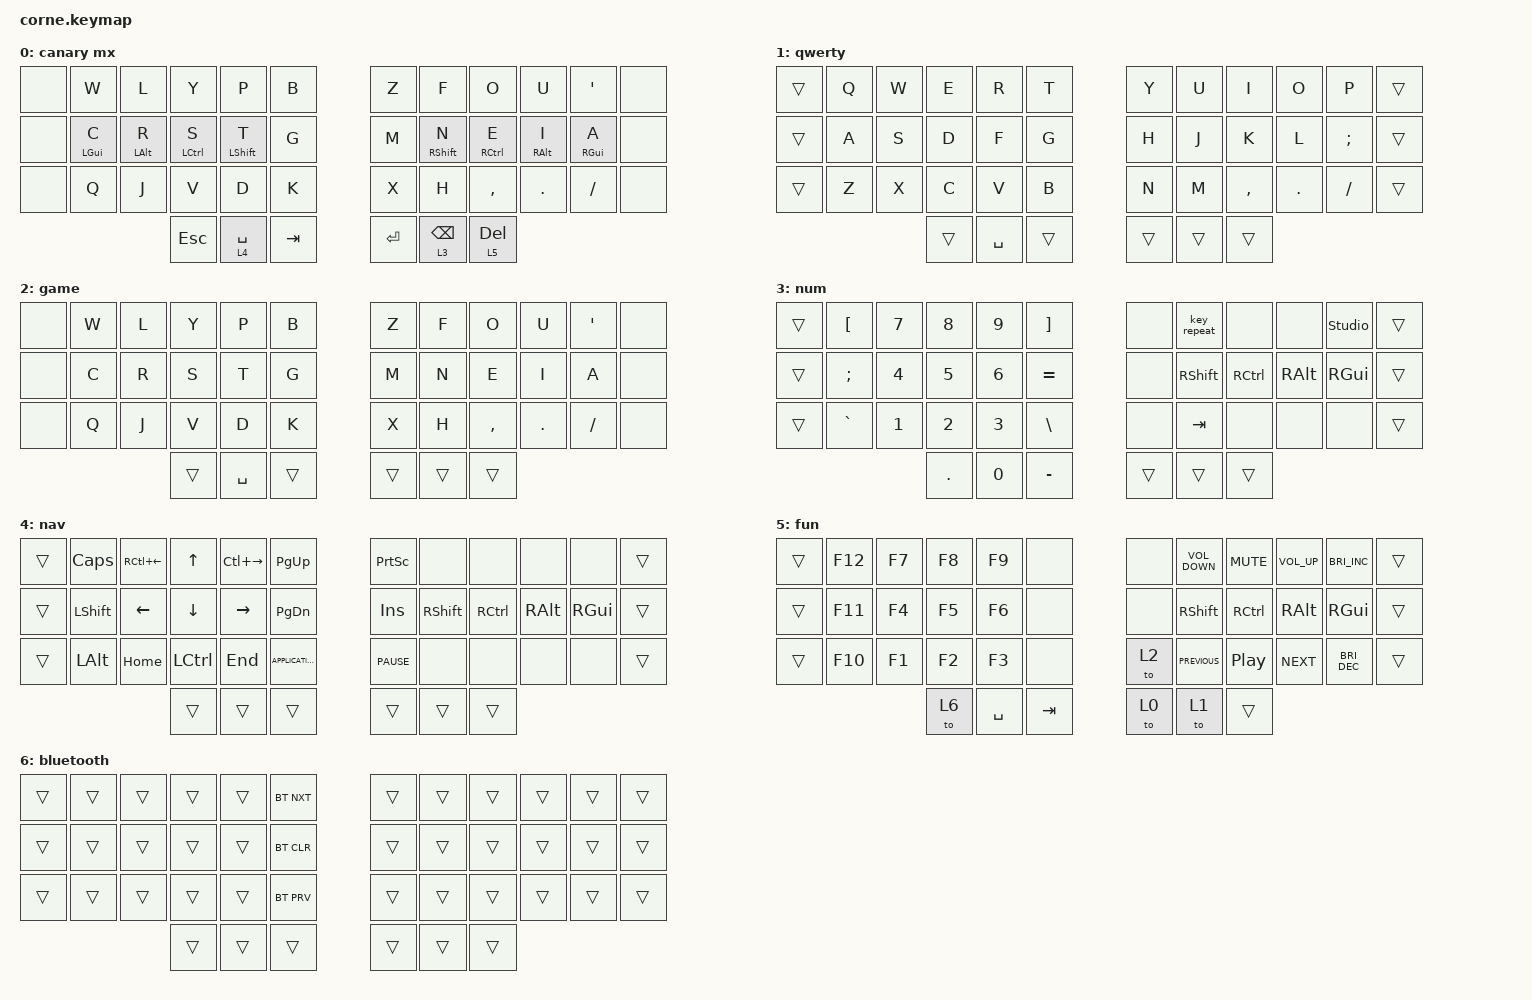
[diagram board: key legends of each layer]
/*
 * Copyright (c) 2020 The ZMK Contributors
 *
 * SPDX-License-Identifier: MIT
 */

#include <behaviors.dtsi>
#include <dt-bindings/zmk/bt.h>
#include <dt-bindings/zmk/keys.h>

&soft_off {
    hold-time-ms = <5000>; // Only turn off it the key is held for 5 seconds or longer.
};

&soft_off { /delete-property/ split-peripheral-off-on-press; };

&mt {
    tapping-term-ms = <200>;
    quick-tap-ms = <175>;
    require-prior-idle-ms = <150>;
    flavor = "balanced";
};

&lt {
    tapping-term-ms = <200>;
    flavor = "hold-preferred";
};

/ {
    combos {
        compatible = "zmk,combos";

        exclm {
            bindings = <&kp EXCLAMATION>;
            key-positions = <1 13>;
        };

        at {
            bindings = <&kp AT_SIGN>;
            key-positions = <2 14>;
        };

        hash {
            bindings = <&kp HASH>;
            key-positions = <3 15>;
        };

        dllr {
            bindings = <&kp DOLLAR>;
            key-positions = <4 16>;
        };

        percnt {
            bindings = <&kp PERCENT>;
            key-positions = <5 17>;
        };

        caret {
            bindings = <&kp CARET>;
            key-positions = <6 18>;
        };

        and {
            bindings = <&kp AMPERSAND>;
            key-positions = <7 19>;
        };

        str {
            bindings = <&kp ASTERISK>;
            key-positions = <8 20>;
        };

        leftparen {
            bindings = <&kp LPAR>;
            key-positions = <9 21>;
        };

        rparen {
            bindings = <&kp RPAR>;
            key-positions = <10 22>;
        };

        lshift {
            bindings = <&kp LEFT_SHIFT>;
            key-positions = <14 26>;
        };
    };

    conditional_layers { compatible = "zmk,conditional-layers"; };

    keymap {
        compatible = "zmk,keymap";

        canary_matrix {
            bindings = <
&none  &kp W           &kp L           &kp Y        &kp P             &kp B      &kp Z      &kp F              &kp O         &kp U            &kp SQT          &none
&none  &mt LEFT_GUI C  &mt LEFT_ALT R  &mt LCTRL S  &mt LEFT_SHIFT T  &kp G      &kp M      &mt RIGHT_SHIFT N  &mt RCTRL E   &mt RIGHT_ALT I  &mt RIGHT_GUI A  &none
&none  &kp Q           &kp J           &kp V        &kp D             &kp K      &kp X      &kp H              &kp COMMA     &kp DOT          &kp FSLH         &none
                                       &kp ESCAPE   &lt 4 SPACE       &kp TAB    &kp ENTER  &lt 3 BACKSPACE    &lt 5 DELETE
            >;

            label = "canary mx";
        };

        qwerty {
            bindings = <
&trans  &kp Q  &kp W  &kp E   &kp R      &kp T     &kp Y   &kp U   &kp I      &kp O    &kp P     &trans
&trans  &kp A  &kp S  &kp D   &kp F      &kp G     &kp H   &kp J   &kp K      &kp L    &kp SEMI  &trans
&trans  &kp Z  &kp X  &kp C   &kp V      &kp B     &kp N   &kp M   &kp COMMA  &kp DOT  &kp FSLH  &trans
                      &trans  &kp SPACE  &trans    &trans  &trans  &trans
            >;

            label = "qwerty";
        };

        game {
            label = "game";
            bindings = <
&none  &kp W  &kp L  &kp Y   &kp P      &kp B     &kp Z   &kp F   &kp O      &kp U    &kp SQT   &none
&none  &kp C  &kp R  &kp S   &kp T      &kp G     &kp M   &kp N   &kp E      &kp I    &kp A     &none
&none  &kp Q  &kp J  &kp V   &kp D      &kp K     &kp X   &kp H   &kp COMMA  &kp DOT  &kp FSLH  &none
                     &trans  &kp SPACE  &trans    &trans  &trans  &trans
            >;
        };

        num {
            bindings = <
&trans  &kp LEFT_BRACKET  &kp N7        &kp N8        &kp N9        &kp RIGHT_BRACKET    &none   &key_repeat      &none      &none          &studio_unlock  &trans
&trans  &kp SEMICOLON     &kp NUMBER_4  &kp N5        &kp NUMBER_6  &kp EQUAL            &none   &kp RIGHT_SHIFT  &kp RCTRL  &kp RIGHT_ALT  &kp RIGHT_GUI   &trans
&trans  &kp GRAVE         &kp NUMBER_1  &kp NUMBER_2  &kp NUMBER_3  &kp BSLH             &none   &kp TAB          &none      &none          &none           &trans
                                        &kp PERIOD    &kp N0        &kp MINUS            &trans  &trans           &trans
            >;

            label = "num";
        };

        nav {
            bindings = <
&trans  &kp CAPSLOCK    &kp RC(LEFT_ARROW)  &kp UP_ARROW    &kp LC(RIGHT_ARROW)  &kp PAGE_UP          &kp PRINTSCREEN  &none            &none      &none          &none          &trans
&trans  &kp LEFT_SHIFT  &kp LEFT_ARROW      &kp DOWN_ARROW  &kp RIGHT_ARROW      &kp PAGE_DOWN        &kp INSERT       &kp RIGHT_SHIFT  &kp RCTRL  &kp RIGHT_ALT  &kp RIGHT_GUI  &trans
&trans  &kp LEFT_ALT    &kp HOME            &kp LCTRL       &kp END              &kp K_APPLICATION    &kp C_PAUSE      &none            &none      &none          &none          &trans
                                            &trans          &trans               &trans               &trans           &trans           &trans
            >;

            label = "nav";
        };

        fun {
            bindings = <
&trans  &kp F12  &kp F7  &kp F8  &kp F9     &none      &none  &kp C_VOLUME_DOWN  &kp K_MUTE        &kp C_VOLUME_UP  &kp C_BRIGHTNESS_INC  &trans
&trans  &kp F11  &kp F4  &kp F5  &kp F6     &none      &none  &kp RIGHT_SHIFT    &kp RCTRL         &kp RIGHT_ALT    &kp RIGHT_GUI         &trans
&trans  &kp F10  &kp F1  &kp F2  &kp F3     &none      &to 2  &kp C_PREVIOUS     &kp C_PLAY_PAUSE  &kp C_NEXT       &kp C_BRIGHTNESS_DEC  &trans
                         &to 6   &kp SPACE  &kp TAB    &to 0  &to 1              &trans
            >;

            label = "fun";
        };

        blue {
            bindings = <
&trans  &trans  &trans  &trans  &trans  &bt BT_NXT    &trans  &trans  &trans  &trans  &trans  &trans
&trans  &trans  &trans  &trans  &trans  &bt BT_CLR    &trans  &trans  &trans  &trans  &trans  &trans
&trans  &trans  &trans  &trans  &trans  &bt BT_PRV    &trans  &trans  &trans  &trans  &trans  &trans
                        &trans  &trans  &trans        &trans  &trans  &trans
            >;

            label = "bluetooth";
        };
    };
};
